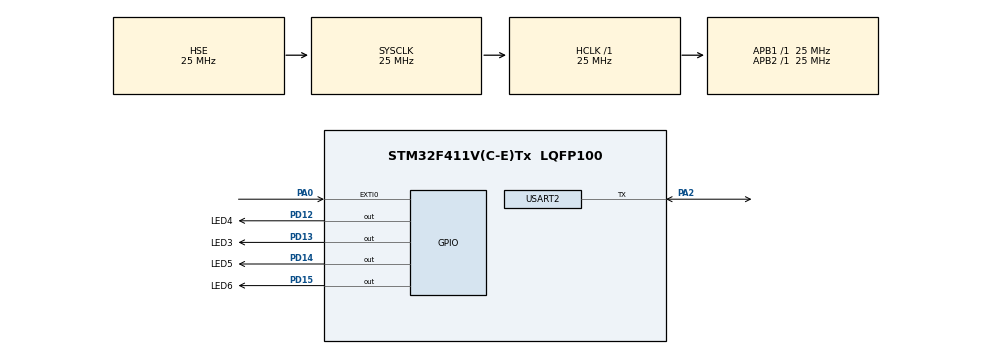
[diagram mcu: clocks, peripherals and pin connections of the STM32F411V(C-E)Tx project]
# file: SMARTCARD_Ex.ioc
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Mcu.Family=STM32F4
Mcu.Name=STM32F411V(C-E)Tx
Mcu.Package=LQFP100
NVIC.EXTI0_IRQn=true\:0\:0\:false\:false\:true\:true\:true
NVIC.PriorityGroup=NVIC_PRIORITYGROUP_4
NVIC.USART2_IRQn=true\:0\:0\:false\:false\:true\:true\:true
PA0-WKUP.Signal=GPXTI0
PA2.GPIO_PuPd=GPIO_PULLUP
PA2.Mode=SmartCard
PA2.Signal=USART2_TX
PC14-OSC32_IN.Mode=LSE-External-Oscillator
PC14-OSC32_IN.Signal=RCC_OSC32_IN
PC15-OSC32_OUT.Mode=LSE-External-Oscillator
PC15-OSC32_OUT.Signal=RCC_OSC32_OUT
PD12.GPIO_Label=LED4
PD12.Signal=GPIO_Output
PD13.GPIO_Label=LED3
PD13.Signal=GPIO_Output
PD14.GPIO_Label=LED5
PD14.Signal=GPIO_Output
PD15.GPIO_Label=LED6
PD15.Signal=GPIO_Output
PH0\ -\ OSC_IN.Mode=HSE-External-Oscillator
PH0\ -\ OSC_IN.Signal=RCC_OSC_IN
PH1\ -\ OSC_OUT.Mode=HSE-External-Oscillator
PH1\ -\ OSC_OUT.Signal=RCC_OSC_OUT
ProjectManager.HeapSize=0x200
ProjectManager.StackSize=0x400
ProjectManager.TargetToolchain=STM32CubeIDE
RCC.48MHZClocksFreq_Value=75000000
RCC.AHBFreq_Value=25000000
RCC.APB1Freq_Value=25000000
RCC.APB1TimFreq_Value=25000000
RCC.APB2Freq_Value=25000000
RCC.APB2TimFreq_Value=25000000
RCC.CortexFreq_Value=25000000
RCC.HCLKFreq_Value=25000000
RCC.HSE_VALUE=25000000
RCC.HSI_VALUE=16000000
RCC.PLLSourceVirtual=RCC_PLLSOURCE_HSE
RCC.SYSCLKFreq_VALUE=25000000
RCC.SYSCLKSource=RCC_SYSCLKSOURCE_HSE
RCC.VCOOutputFreq_Value=300000000
USART2.VirtualMode=VM_SMARTCARD
board=custom

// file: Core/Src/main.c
/* USER CODE BEGIN Header */
/**
  ******************************************************************************
  * @file           : main.c
  * @brief          : Main program body
  ******************************************************************************
  * @attention
  *
  * <h2><center>&copy; Copyright (c) 2020 STMicroelectronics.
  * All rights reserved.</center></h2>
  *
  * This software component is licensed by ST under BSD 3-Clause license,
  * the "License"; You may not use this file except in compliance with the
  * License. You may obtain a copy of the License at:
  *                        opensource.org/licenses/BSD-3-Clause
  *
  ******************************************************************************
  */
/** @brief Example of USART in Smartcard mode
 *
    Detailed description follows here.
    @author Gruppo 1: Giorgio Farina, Luca Giamattei, Gabriele Previtera
    @date April 2020
    */

/* USER CODE END Header */

#include "main.h"

/* USER CODE BEGIN PD */
#define TRANSMITTER_BOARD
#define RESUMEDELAY 100
/* USER CODE END PD */

SMARTCARD_HandleTypeDef hsc2;

/* USER CODE BEGIN PV */
/**
 * @var _IO ITStatus SmartcardReady
 *  ITStatus è un tipo enum che può assumere il valore RESET (zero unsigned) e SET (il suo negato)
 * _IO sta per volatile
 */

/**
 * @var _IO ITStatus SmartcardReady
 *  ITStatus è un tipo enum che può assumere il valore RESET (zero unsigned) e SET (il suo negato)
 * _IO sta per volatile
 * SmartcardReady è una variabile utilizzata per capire dal main se la ISR  (transmit e receive) è stata invocata
 */
__IO ITStatus SmartcardReady = RESET;

/**
 * @var _IO ITStatus ButtonPressed
 * ITStatus è un tipo enum che può assumere il valore RESET (zero unsigned) e SET (il suo negato)
 * _IO sta per volatile
 * ButtonPressed  è una variabile utilizzata per capire dal main se la ISR  (EXTI0) è stata invocata
 */
__IO ITStatus ButtonPressed = RESET;

/**
 * nReceived è una variabile utilizzata per tanere traccia del tipo di Ricezione
 * Nel caso del Transmitter Board:
 * nReceived = 1: ha ricevuto il riflesso del messaggio che ha inviato essendo anche il transmitter in modalità ricezione.
 * nReceived = 2: riceve il messaggio inviato dalla Receiver Board
 *
 * Nel caso del Receiver Board:
 * nReceived = 1: riceve il messaggio inviato dalla Transmitter Board
 * nReceived = 2: ha ricevuto il riflesso del messaggio che ha inviato essendo anche il Receiver in modalità ricezione.
 */
uint8_t nReceived = 0;

/** @var uint8_t aTxBuffer[]
 *  Buffer usato per la trasmissione di un intero: se è la board transmitter il buffer invierà il valore '1',
 * in codifica ASCII altrimenti se è la board receiver trasmetterà il valore '2' in codifica ASCII
 * Le costanti expected sono state usate per fare il controllo.
 */

#ifdef TRANSMITTER_BOARD
	uint8_t aTxBuffer[] = "1";
	uint8_t aRxExpected[] = "2";
#else
	uint8_t aRxExpected[] = "1";
	uint8_t aTxBuffer[] = "2";
#endif

/** @var uint8_t aRxBuffer[RXBUFFERSIZE]
	 * Buffer usato per la recezione del carattere */
	uint8_t aRxBuffer[RXBUFFERSIZE];

/* USER CODE END PV */

void SystemClock_Config(void);
static void MX_GPIO_Init(void);
static void MX_USART2_SMARTCARD_Init(void);

int main(void){

  /* MCU Configuration--------------------------------------------------------*/

  /* Reset of all peripherals, Initializes the Flash interface and the Systick. */
  HAL_Init();

  /* Configure the system clock */
  SystemClock_Config();

  /* Initialize all configured peripherals */
  MX_GPIO_Init();
  MX_USART2_SMARTCARD_Init();

  /* Infinite loop */
  while (1){

    /* USER CODE BEGIN 3 */

		#ifndef TRANSMITTER_BOARD
  		/**
  		 * Configura la Receiver Board per ricevere il primo carattere
		   */

	 	 	 if(HAL_SMARTCARD_Receive_IT(&hsc2, (uint8_t *)aRxBuffer, RXBUFFERSIZE) != HAL_OK){
		 	   Error_Handler();
		 	 }

		#endif

	 	/**
	 	* Disattivazione della CPU, entrando nella modalità SleepMode
	 	* PWR_SLEEPENTRY_WFI: Risveglia la CPU quando si verifica un Interrupt
	 	*/

		HAL_SuspendTick();
		HAL_PWR_EnterSLEEPMode(PWR_MAINREGULATOR_ON, PWR_SLEEPENTRY_WFI);
		HAL_ResumeTick();

		/**
		 * Reset dei Led eccetto il LED 5 che indica la corretta ricezione del messaggio dell'altra board
		 */

		HAL_GPIO_WritePin(LED3_GPIO_Port, LED3_Pin, 0);
		HAL_GPIO_WritePin(LED3_GPIO_Port, LED4_Pin, 0);
		HAL_GPIO_WritePin(LED3_GPIO_Port, LED6_Pin, 0);

		//Aspetto il risveglio
		HAL_Delay(RESUMEDELAY);

	#ifdef TRANSMITTER_BOARD
		/* Infinite Loop della TRANSMITTER BOARD */

		/** Tramite polling-interrupt il programma aspetta per la pressione del bottone USER prima di iniziare la comunicazione.
		 *	La ISR di EXTI0 aggiorna la variabile ButtonPressed
		 */
		while (ButtonPressed == RESET){

			/** Il Led 3 lampeggia finchè non viene premuto un bottone: il lampeggiamento del led indicherebbe che si è usciti
			 * dallo sleep mode non per aver premuto l'USER BUTTON
			 */

			HAL_GPIO_TogglePin(LED3_GPIO_Port, LED3_Pin);
			HAL_Delay(40);
		}

		/** Reset del flag */
		ButtonPressed = RESET;

		/** Spegne il led 3 per indicare che inzio l'invio*/
		HAL_GPIO_WritePin(LED3_GPIO_Port, LED3_Pin, 0);

		/** Inizio del processo di trasmissione
		 * Trasmette il carattere contenuto nel buffer
		 */
		if(HAL_SMARTCARD_Transmit_IT(&hsc2, (uint8_t*)aTxBuffer, TXBUFFERSIZE)!= HAL_OK){
			Error_Handler();
		}

		/**
		 * Aspetta la fine della trasmissione (SmartcardReady è una variabile globale aggiornata nella callback dell'interruzione
		 */
		while (SmartcardReady != SET);

		/** Reset del flag SmartcardReady */
		SmartcardReady = RESET;

		/**
		 * Si prepara alla ricezione di due caratteri, il primo è quello che invia e il secondoe quello che gli invia l'altra board
		 * Imposta i parametri della ricezione, solo una volta conclusa la ricezione reimposterà i parametri.
		 */
		while(nReceived < 2){
			if(HAL_SMARTCARD_Receive_IT(&hsc2, (uint8_t *)aRxBuffer, RXBUFFERSIZE) != HAL_OK){
				Error_Handler();
			}
		}

		/* Riaccensione del led3 per indicare che la board è la trasmittente */
		HAL_GPIO_WritePin(LED3_GPIO_Port, LED3_Pin, 1);

	#else
		/* Infinite Loop della RECEIVER BOARD */

		/* Attende la fine della ricezione */
	 	while (SmartcardReady != SET);

	 	/** Resetta il flag SmartcardReady*/
	 	SmartcardReady = RESET;

	 	/** La board receiver ha ricevuto il messaggio dal transmitter e provvederà a dare una risposta
	 	 * Inizia il processo di trasmissione
	 	 */
	 	if(HAL_SMARTCARD_Transmit_IT(&hsc2, (uint8_t*)aTxBuffer, TXBUFFERSIZE)!= HAL_OK){
	 		Error_Handler();
	 	}

	 	while (SmartcardReady != SET);

	 	SmartcardReady = RESET;

	 	if(HAL_SMARTCARD_Receive_IT(&hsc2, (uint8_t *)aRxBuffer, RXBUFFERSIZE) != HAL_OK){
		 	   Error_Handler();
	 	}

	#endif

	 	/* Attendo il completamento delle operazioni di invio/ricezione sull'USART
	 	 * lo stato è cambiato dalle Callback
	 	 */
		while (SmartcardReady != SET);

	 	/* Azzero il contatore dei messaggi ricevuti */
		nReceived = 0;

		SmartcardReady = RESET;
  }
  /* USER CODE END 3 */
}
//End Main

void SystemClock_Config(void)
{
  RCC_OscInitTypeDef RCC_OscInitStruct = {0};
  RCC_ClkInitTypeDef RCC_ClkInitStruct = {0};

  /** Configure the main internal regulator output voltage
  */
  __HAL_RCC_PWR_CLK_ENABLE();
  __HAL_PWR_VOLTAGESCALING_CONFIG(PWR_REGULATOR_VOLTAGE_SCALE1);
  /** Initializes the CPU, AHB and APB busses clocks
  */
  RCC_OscInitStruct.OscillatorType = RCC_OSCILLATORTYPE_HSE;
  RCC_OscInitStruct.HSEState = RCC_HSE_ON;
  RCC_OscInitStruct.PLL.PLLState = RCC_PLL_NONE;
  if (HAL_RCC_OscConfig(&RCC_OscInitStruct) != HAL_OK)
  {
    Error_Handler();
  }
  /** Initializes the CPU, AHB and APB busses clocks
  */
  RCC_ClkInitStruct.ClockType = RCC_CLOCKTYPE_HCLK|RCC_CLOCKTYPE_SYSCLK
                              |RCC_CLOCKTYPE_PCLK1|RCC_CLOCKTYPE_PCLK2;
  RCC_ClkInitStruct.SYSCLKSource = RCC_SYSCLKSOURCE_HSE;
  RCC_ClkInitStruct.AHBCLKDivider = RCC_SYSCLK_DIV1;
  RCC_ClkInitStruct.APB1CLKDivider = RCC_HCLK_DIV1;
  RCC_ClkInitStruct.APB2CLKDivider = RCC_HCLK_DIV1;

  if (HAL_RCC_ClockConfig(&RCC_ClkInitStruct, FLASH_LATENCY_0) != HAL_OK)
  {
    Error_Handler();
  }
}

static void MX_USART2_SMARTCARD_Init(void)
{

  hsc2.Instance = USART2;
  hsc2.Init.BaudRate = 115200;
  hsc2.Init.WordLength = SMARTCARD_WORDLENGTH_9B;
  hsc2.Init.StopBits = SMARTCARD_STOPBITS_1_5;
  hsc2.Init.Parity = SMARTCARD_PARITY_EVEN;
  hsc2.Init.Mode = SMARTCARD_MODE_TX_RX;
  hsc2.Init.GuardTime = 0;
  hsc2.Init.NACKState = SMARTCARD_NACK_DISABLE;
  if (HAL_SMARTCARD_Init(&hsc2) != HAL_OK)
  {
    Error_Handler();
  }
  /* USER CODE BEGIN USART2_Init 2 */
  else{
  	/* Accendo il led3 sulla transmitter board */
	  #ifdef TRANSMITTER_BOARD
	  	  HAL_GPIO_WritePin(LED3_GPIO_Port, LED3_Pin, 1);
      #endif
  }

  /* USER CODE END USART2_Init 2 */

}

static void MX_GPIO_Init(void)
{
  GPIO_InitTypeDef GPIO_InitStruct = {0};

  /* GPIO Ports Clock Enable */
  __HAL_RCC_GPIOC_CLK_ENABLE();
  __HAL_RCC_GPIOH_CLK_ENABLE();
  __HAL_RCC_GPIOA_CLK_ENABLE();
  __HAL_RCC_GPIOD_CLK_ENABLE();

  /*Configure GPIO pin Output Level */
  HAL_GPIO_WritePin(GPIOD, LED4_Pin|LED3_Pin|LED5_Pin|LED6_Pin, GPIO_PIN_RESET);

  /*Configure GPIO pin : PA0 */
  GPIO_InitStruct.Pin = GPIO_PIN_0;
  GPIO_InitStruct.Mode = GPIO_MODE_IT_RISING;
  GPIO_InitStruct.Pull = GPIO_NOPULL;
  HAL_GPIO_Init(GPIOA, &GPIO_InitStruct);

  /*Configure GPIO pins : LED4_Pin LED3_Pin LED5_Pin LED6_Pin */
  GPIO_InitStruct.Pin = LED4_Pin|LED3_Pin|LED5_Pin|LED6_Pin;
  GPIO_InitStruct.Mode = GPIO_MODE_OUTPUT_PP;
  GPIO_InitStruct.Pull = GPIO_NOPULL;
  GPIO_InitStruct.Speed = GPIO_SPEED_FREQ_LOW;
  HAL_GPIO_Init(GPIOD, &GPIO_InitStruct);

  /* EXTI interrupt init*/
  HAL_NVIC_SetPriority(EXTI0_IRQn, 0, 0);
  HAL_NVIC_EnableIRQ(EXTI0_IRQn);

}

/* USER CODE BEGIN 4 */

void HAL_SMARTCARD_TxCpltCallback(SMARTCARD_HandleTypeDef * hsc)
{
	/**
	 * Set del flag SmartcardReady: transfer complete
	 */
  SmartcardReady = SET;

  /**
   *  LED 6 acceso: il trasferimento si è concluso
   */
  HAL_GPIO_WritePin(LED6_GPIO_Port, LED6_Pin, 1);
}

void HAL_SMARTCARD_RxCpltCallback(SMARTCARD_HandleTypeDef * hsc)
{
	/**
	 *  Set del flag SmartcardReady: receive complete
	 */
  SmartcardReady = SET;

  /**
   * Incremento della variabile nReceived
   */
  nReceived++;

  /**
   * LED 4 acceso: è stato ricevuto il carattere inviato dalla controparte.
   * Nel caso del transmitter board sta a significare: "La seconda ricezione consecutiva si è conclusa"
   * Nel caso del Receiver Board sta a significare: "La prima ricezione consecutiva si è conclusa"
   *
   */
	#ifdef TRANSMITTER_BOARD
  	if(nReceived == 2)
	#endif

  HAL_GPIO_WritePin(LED4_GPIO_Port, LED4_Pin, 1);
  /**
    * Si contralla se il carattere ricevuto è quello che ci si aspettava di ricevere dalla controparte.
    * Nel caso in cui il controllo vada a buon fine, il LED 5 verrà acceso.
    */

  if(!Buffercmp(aRxBuffer,aRxExpected, RXBUFFERSIZE)){
 	 	 HAL_GPIO_WritePin(LED5_GPIO_Port, LED5_Pin, 1);
  }

	#ifndef TRANSMITTER_BOARD
  	else if(nReceived !=2){
	  /**
	   * Nel Receiver board
	   * se il primo carattere ricevuto (quello della ricevuto dalla controparte) non è quello che ci si aspettava
	   * il led 5 viene spento
	   */
	  HAL_GPIO_WritePin(LED3_GPIO_Port, LED5_Pin, 0);
  }
	#endif
}

void HAL_SMARTCARD_ErrorCallback(SMARTCARD_HandleTypeDef * hsc){
 /* Tutti i led spendi: Transfer error in reception/transmission process */
	 HAL_GPIO_WritePin(LED3_GPIO_Port, LED3_Pin, 0);
}

static uint16_t Buffercmp(uint8_t* pBuffer1, uint8_t* pBuffer2, uint16_t BufferLength){
  while (BufferLength){
    if ((*pBuffer1) != *pBuffer2){
      return BufferLength;
    }
    pBuffer1++;
    pBuffer2++;
    BufferLength--;
  }

  return 0;
}

/* USER CODE END 4 */

void Error_Handler(void)
{
}

/************************ (C) COPYRIGHT STMicroelectronics *****END OF FILE****/
